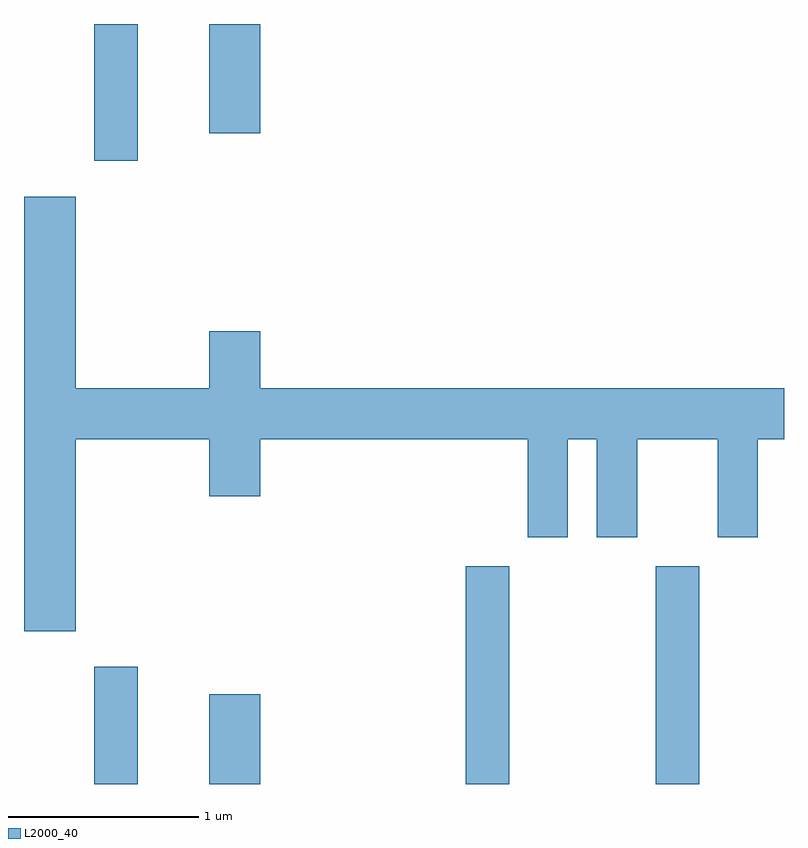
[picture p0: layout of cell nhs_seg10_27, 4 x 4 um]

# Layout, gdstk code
import gdstk
lib = gdstk.Library(unit=1e-6, precision=1e-09)
def R(c, l, rs):  # rectangles x0, y0, x1, y1
    for r in rs: c.add(gdstk.rectangle(r[:2], r[2:], *l))
def P(c, l, *ps):  # polygons
    for p in ps: c.add(gdstk.Polygon(p, *l))
L2000_40 = (2000, 40)

nhs_seg10_27 = lib.new_cell('nhs_seg10_27')
R(nhs_seg10_27, L2000_40, [(185.981,2136.522,186.209,2137.139), (186.586,2136.522,186.854,2136.994), (187.936,2136.522,188.164,2137.669), (188.936,2136.522,189.164,2137.669), (185.981,2139.801,186.209,2140.522), (186.586,2139.946,186.854,2140.522)])
P(nhs_seg10_27, L2000_40, [(185.884,2138.336),(186.586,2138.336),(186.586,2138.036),(186.854,2138.036),(186.854,2138.336),(188.261,2138.336),(188.261,2137.821),(188.474,2137.821),(188.474,2138.336),(188.626,2138.336),(188.626,2137.821),(188.839,2137.821),(188.839,2138.336),(189.261,2138.336),(189.261,2137.821),(189.474,2137.821),(189.474,2138.336),(189.611,2138.336),(189.611,2138.604),(186.854,2138.604),(186.854,2138.904),(186.586,2138.904),(186.586,2138.604),(185.884,2138.604),(185.884,2139.614),(185.611,2139.614),(185.611,2137.326),(185.884,2137.326)])

lib.write_gds('nhs_seg10_27.gds')
